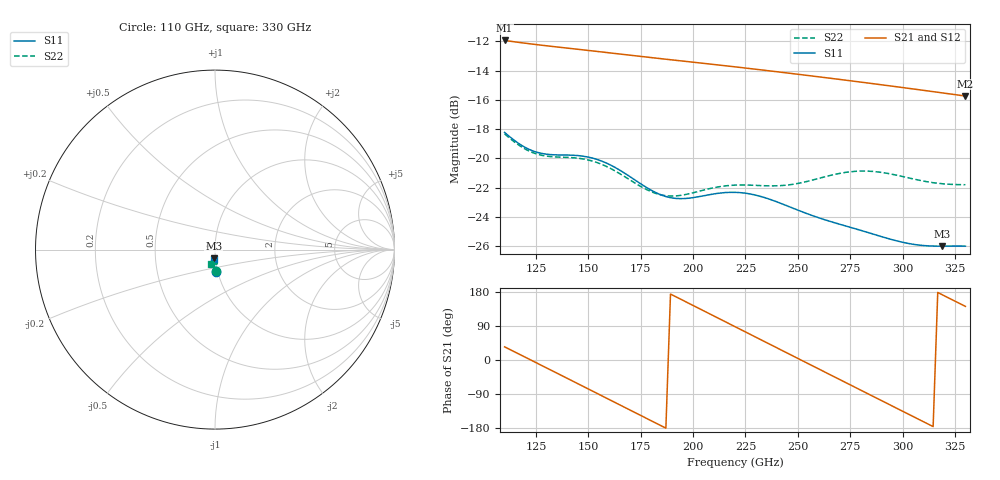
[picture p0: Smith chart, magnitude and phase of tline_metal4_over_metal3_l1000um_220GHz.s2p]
#  GHZ S DB R 50
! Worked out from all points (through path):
!   101 points, 110 GHz to 330 GHz, reference 50 ohm
!   highest |S21| = -11.94 dB at 110 GHz (marker M1); lowest = -15.7 dB at 330 GHz (marker M2)
!   group delay of S21, straight-line fit = 7.75 ps
!   lowest |S11| = -26.0 dB at 319 GHz (marker M3), VSWR 1.11, Z = 49 - j4.87 ohm
!   |S11| at or under -10 dB: start of sweep to end of sweep
!   |S22| runs from -22.6 to -18.3 dB; largest |S21 - S12| = 2.2e-13
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110  -18.22 -87.4  -11.94 34.7  -11.94 34.7  -18.32 -86.8
118.8  -19.17 -86.5  -12.11 10.3  -12.11 10.3  -19.28 -85.6
127.6  -19.66 -84.5  -12.26 -14.2  -12.26 -14.2  -19.78 -83.3
138.6  -19.77 -84.3  -12.44 -44.8  -12.44 -44.8  -19.92 -82.6
147.4  -19.84 -86.7  -12.58 -69.3  -12.58 -69.3  -20.03 -84.5
156.2  -20.17 -90.4  -12.72 -93.9  -12.72 -93.9  -20.39 -87.4
165  -20.80 -93.7  -12.87 -118.5  -12.87 -118.5  -21.04 -89.5
176  -21.83 -94.9  -13.04 -149.2  -13.04 -149.2  -22.00 -88.9
184.8  -22.50 -93.2  -13.19 -173.7  -13.19 -173.7  -22.49 -85.8
193.6  -22.75 -90.4  -13.32 161.7  -13.32 161.7  -22.53 -82.3
204.6  -22.56 -89.0  -13.50 131.0  -13.50 131.0  -22.18 -80.6
220  -22.32 -92.7  -13.74 88.0  -13.74 88.0  -21.82 -82.5
228.8  -22.47 -96.1  -13.89 63.4  -13.89 63.4  -21.83 -83.9
239.8  -22.96 -99.8  -14.07 32.7  -14.07 32.7  -21.87 -84.5
248.6  -23.45 -101.5  -14.22 8.1  -14.22 8.1  -21.74 -84.5
257.4  -23.93 -102.3  -14.38 -16.4  -14.38 -16.4  -21.46 -85.2
268.4  -24.43 -102.7  -14.57 -47.1  -14.57 -47.1  -21.07 -88.0
277.2  -24.79 -102.8  -14.73 -71.6  -14.73 -71.6  -20.88 -91.5
294.8  -25.54 -102.1  -15.06 -120.6  -15.06 -120.6  -21.07 -98.8
308  -25.92 -100.1  -15.31 -157.4  -15.31 -157.4  -21.49 -102.1
319  -25.99 -98.6  -15.52 172.1  -15.52 172.1  -21.73 -103.6
330  -25.99 -98.4  -15.74 141.5  -15.74 141.5  -21.80 -105.2
